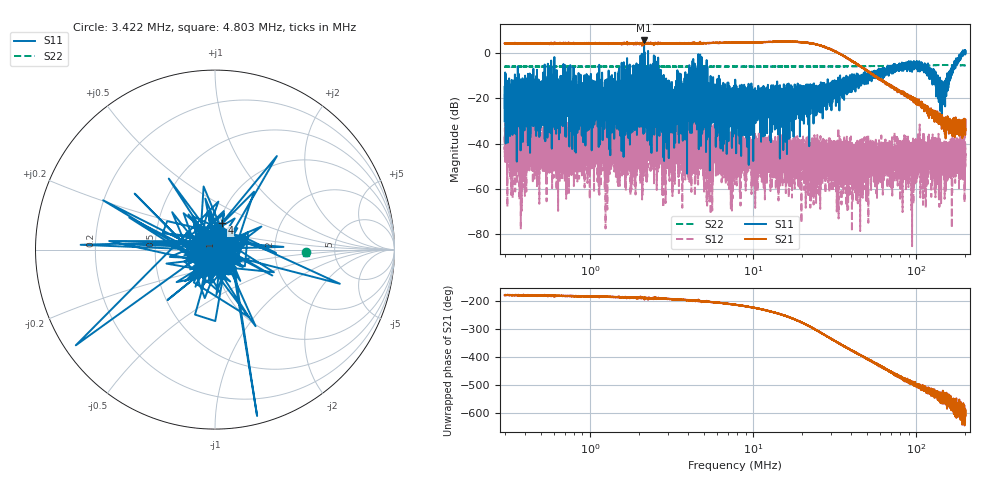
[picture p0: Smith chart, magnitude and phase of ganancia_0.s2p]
# Hz S DB R 50
! CMT, M5065, 19127446, 24.2.4/2
! Date: 11/1/2024 4:13:21 PM
! Data: Format (Calibration Info)
! Freq	S11:dB/Ang(F2)	S21:dB/Ang(F2)	S12:dB/Ang(F2)	S22:dB/Ang(F2)
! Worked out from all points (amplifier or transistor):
!   9000 points, 300 kHz to 200 MHz, reference 50 ohm
!   highest |S21| = 5.7 dB at 2.147 MHz (marker M1)
!   |S21| within 3 dB of that: start of sweep to 27.55 MHz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
!   unconditionally stable (mu >= 1): start of sweep to 2.041 MHz; 2.273 MHz to 4.737 MHz; 4.738 MHz to 189.5 MHz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
!   at 886.8 kHz: K = 23.56, MAG = 5.8 dB, |S12| = -40.6 dB
!   at 7.749 MHz: K = 37.66, MAG = 6.0 dB, |S12| = -44.9 dB
!   at 200 MHz: K = 332.49, MAG = -20.1 dB, |S12| = -50.3 dB
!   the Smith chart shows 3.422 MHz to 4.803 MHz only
!   S11 on the Smith chart (normalised r, x): 3.422 MHz: 0.91, -0.07; 4 MHz: 1.03, +0.31; 4.803 MHz: 0.94, -0.20
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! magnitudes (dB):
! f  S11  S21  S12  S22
! 300 kHz  -30.1  4.4  -36.9  -5.9
! 310.1 kHz  -16.6  4.3  -47.0  -5.9
! 360.4 kHz  -22.2  4.5  -40.6  -5.9
! 376.7 kHz  -23.9  4.4  -43.1  -5.9
! 421.3 kHz  -17.2  4.4  -30.7  -5.9
! 886.8 kHz  -17.3  4.4  -40.6  -5.9
! 1.284 MHz  -23.3  4.4  -43.0  -5.9
! 2.147 MHz  3.7  5.7  -45.3  -5.9
! 2.345 MHz  -32.8  4.4  -27.6  -5.8
! 2.621 MHz  -15.8  4.5  -33.0  -5.8
! 3.422 MHz  -24.2  4.5  -33.7  -5.9
! 4 MHz  -16.3  4.4  -39.4  -5.9
! 4.803 MHz  -19.4  4.6  -44.4  -5.9
! 5.399 MHz  -16.6  4.7  -44.3  -5.9
! 5.871 MHz  -15.0  4.7  -37.5  -5.9
! 7.749 MHz  -22.4  4.7  -44.9  -5.9
! 22.91 MHz  -21.9  4.3  -41.8  -5.9
! 67.71 MHz  -6.8  -14.0  -40.3  -5.6
! 110.3 MHz  -6.8  -23.9  -48.9  -5.4
! 145.4 MHz  -18.7  -28.9  -48.2  -5.2
! 191.7 MHz  -0.2  -37.6  -55.5  -5.3
! 200 MHz  -0.3  -34.1  -50.3  -5.3
